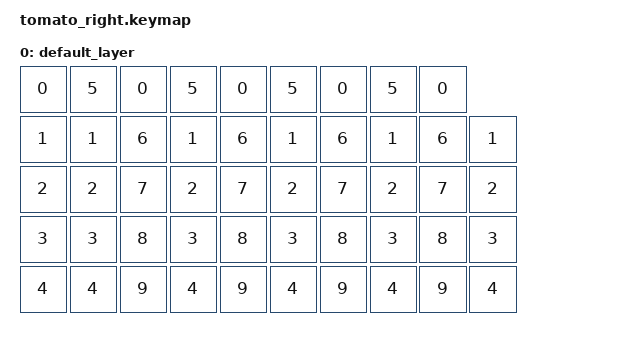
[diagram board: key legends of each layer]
#include <behaviors.dtsi>
#include <dt-bindings/zmk/keys.h>
#include <dt-bindings/zmk/bt.h>
#include <dt-bindings/zmk/pointing.h>

/ {
    keymap {
        compatible = "zmk,keymap";

        default_layer {
            bindings = <
              &kp 0	&kp 5	&kp 0	&kp 5	&kp 0	&kp 5	&kp 0	&kp 5	&kp 0
              &kp 1	&kp 1	&kp 6	&kp 1	&kp 6	&kp 1	&kp 6	&kp 1	&kp 6	&kp 1
              &kp 2	&kp 2	&kp 7	&kp 2	&kp 7	&kp 2	&kp 7	&kp 2	&kp 7	&kp 2
              &kp 3	&kp 3	&kp 8	&kp 3	&kp 8	&kp 3	&kp 8	&kp 3	&kp 8	&kp 3
              &kp 4	&kp 4	&kp 9	&kp 4	&kp 9	&kp 4	&kp 9	&kp 4	&kp 9	&kp 4
            >;
        };
    };
};
